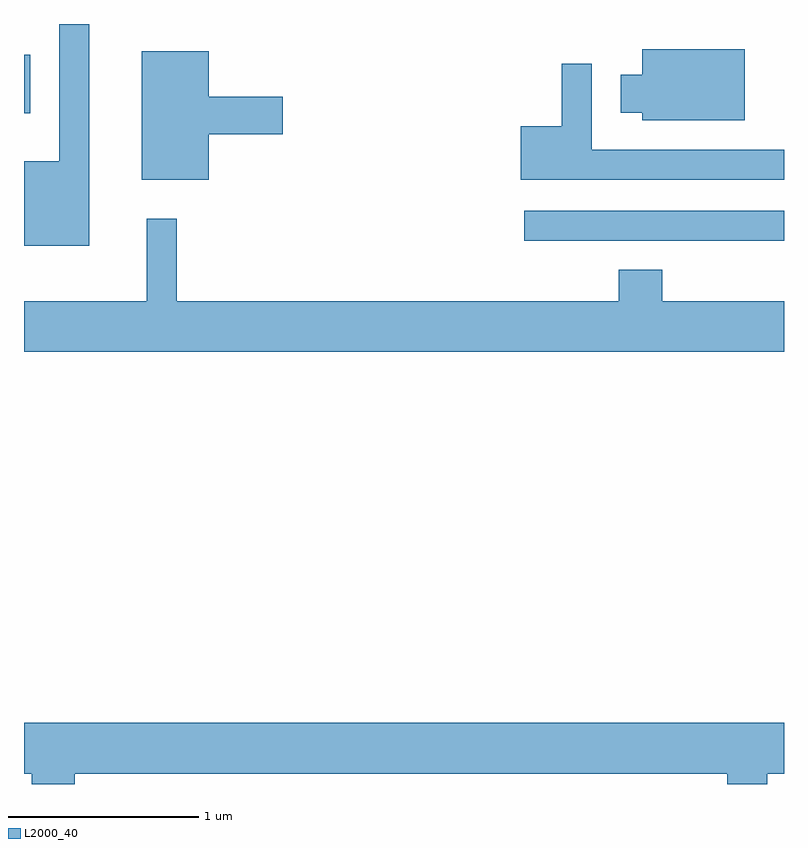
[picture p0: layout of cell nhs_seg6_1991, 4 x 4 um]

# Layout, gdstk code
import gdstk
lib = gdstk.Library(unit=1e-6, precision=1e-09)
def R(c, l, rs):  # rectangles x0, y0, x1, y1
    for r in rs: c.add(gdstk.rectangle(r[:2], r[2:], *l))
def P(c, l, *ps):  # polygons
    for p in ps: c.add(gdstk.Polygon(p, *l))
L2000_40 = (2000, 40)

nhs_seg6_1991 = lib.new_cell('nhs_seg6_1991')
R(nhs_seg6_1991, L2000_40, [(248.243,1595.021,249.611,1595.179), (245.611,1595.691,245.644,1595.999)])
P(nhs_seg6_1991, L2000_40, [(245.954,1596.162),(245.796,1596.162),(245.796,1595.439),(245.611,1595.439),(245.611,1594.996),(245.954,1594.996)],
  [(249.404,1596.029),(248.866,1596.029),(248.866,1595.894),(248.751,1595.894),(248.751,1595.696),(248.866,1595.696),(248.866,1595.656),(249.404,1595.656)],
  [(246.584,1595.581),(246.974,1595.581),(246.974,1595.779),(246.584,1595.779),(246.584,1596.019),(246.231,1596.019),(246.231,1595.341),(246.584,1595.341)],
  [(249.611,1595.499),(248.599,1595.499),(248.599,1595.953),(248.441,1595.953),(248.441,1595.624),(248.226,1595.624),(248.226,1595.341),(249.611,1595.341)],
  [(249.611,1594.704),(248.969,1594.704),(248.969,1594.869),(248.741,1594.869),(248.741,1594.704),(246.414,1594.704),(246.414,1595.138),(246.256,1595.138),(246.256,1594.704),(245.611,1594.704),(245.611,1594.436),(249.611,1594.436)],
  [(245.611,1592.216),(245.651,1592.216),(245.651,1592.162),(245.879,1592.162),(245.879,1592.216),(249.311,1592.216),(249.311,1592.162),(249.524,1592.162),(249.524,1592.216),(249.611,1592.216),(249.611,1592.484),(245.611,1592.484)])

lib.write_gds('nhs_seg6_1991.gds')
